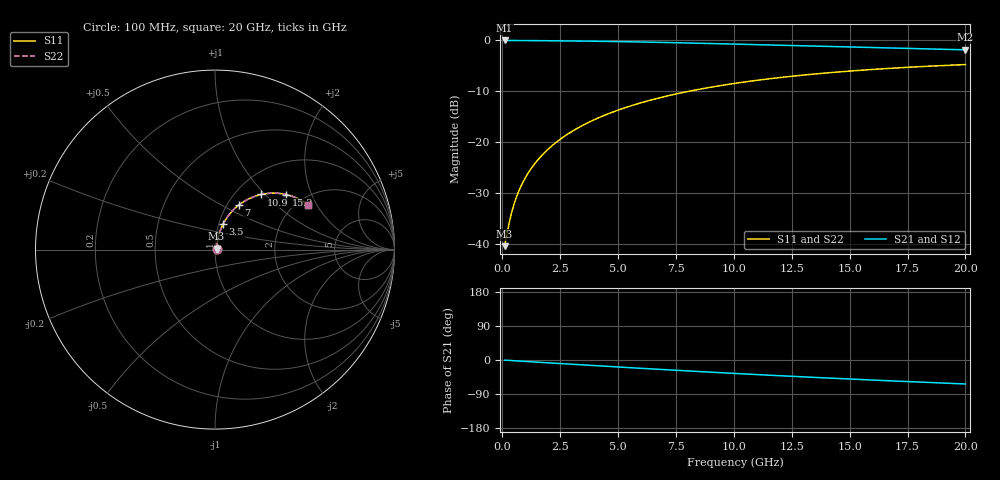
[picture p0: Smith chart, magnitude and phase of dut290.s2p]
! Touchstone file exported from HFSS 2026.1.0
!  File:  C:/ffzhzh/LocalFiles/Ansys_Project_Files/temp_train_TMRDL_290_1782985499_6248.aedt
!  Generated:  05:46:24 PM Jul  2, 2026
!  Design:  TMRDL
!  Project:  temp_train_TMRDL_290_1782985499_6248
! Variables:
!  h_bsmrdl = 2um
!  h_ox = 20um
!  h_rdl = 5um
!  h_sub = 80um
!  h_tmrdl = 2.01um
!  h_tsv = 80um
!  h_via = 3um
!  l_bsmrdl = 300um
!  l_sub = 1356.95um
!  l_tmrdl = 956.95um
!  m_sub = 200um
!  pitch = 54.25um
!  r_tsv = 6um
!  s_tmrdl = 10um
!  w_bsmrdl = 18um
!  w_sub = 500um
!  w_tmrdl = 20.31um
!  x_tsv_center1 = 967.105um
!  x_tsv_center2 = 1285.105um
!  x_tsv_center3 = 2262.365um
!  x_tsv_center4 = 2580.365um
!  x_tsv_center5 = 3557.625um
!  x_tsv_center6 = 3875.625um
# GHz S MA R 50.000000
! Terminal data exported
! Port[1] = TM_RDL1_1_T1
! Port[2] = TM_RDL1_1_T2
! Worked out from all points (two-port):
!   200 points, 100 MHz to 20 GHz, reference 50 ohm
!   highest |S21| = -0.07 dB at 100 MHz (marker M1); lowest = -1.9 dB at 20 GHz (marker M2)
!   |S21| within 3 dB of the highest: start of sweep to end of sweep
!   lowest |S11| = -40.3 dB at 100 MHz (marker M3), VSWR 1.02, Z = 50.9 + j0.467 ohm
!   |S11| at or under -10 dB: start of sweep to 8.081 GHz
!   |S22| runs from -40.3 to -4.8 dB; largest |S21 - S12| = 1.2e-14
!   S11 on the Smith chart (normalised r, x): 100 MHz: 1.02, +0.01; 3.5 GHz: 1.05, +0.30; 7 GHz: 1.13, +0.61; 10.9 GHz: 1.30, +0.95; 15.2 GHz: 1.63, +1.34; 20 GHz: 2.29, +1.70
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0.1  0.009616 28.5  0.9916 -0.4  0.9916 -0.4  0.009616 28.5
! Gamma 0 0 0 0
! Port Impedance 50 0 50 0
0.3  0.01634 56.4  0.9911 -1.2  0.9911 -1.2  0.01634 56.4
0.4  0.02036 62.2  0.9908 -1.6  0.9908 -1.6  0.02036 62.2
0.6  0.02862 68.3  0.9901 -2.3  0.9901 -2.3  0.02861 68.3
0.7  0.03275 70.0  0.9898 -2.7  0.9898 -2.7  0.03275 70.0
0.9  0.04102 72.3  0.9891 -3.5  0.9891 -3.5  0.04101 72.3
1.2  0.05338 74.1  0.9881 -4.6  0.9881 -4.6  0.05338 74.1
1.7  0.07399 75.1  0.9864 -6.4  0.9864 -6.4  0.07398 75.1
2.2  0.09457 75.0  0.9845 -8.3  0.9845 -8.3  0.09457 75.0
2.8  0.1191 74.1  0.9816 -10.5  0.9816 -10.5  0.1191 74.1
3.5  0.1474 72.5  0.9776 -13.0  0.9776 -13.0  0.1474 72.5
4.2  0.1753 70.6  0.9729 -15.6  0.9729 -15.6  0.1753 70.6
5  0.2063 68.3  0.9667 -18.5  0.9667 -18.5  0.2063 68.3
6.8  0.2726 62.7  0.95 -24.8  0.95 -24.8  0.2725 62.7
7  0.2796 62.0  0.9479 -25.5  0.9479 -25.5  0.2796 62.1
8.5  0.3299 57.3  0.9315 -30.5  0.9315 -30.5  0.3299 57.3
10.1  0.3787 52.4  0.9127 -35.7  0.9127 -35.7  0.3787 52.4
10.9  0.4012 50.0  0.903 -38.2  0.903 -38.2  0.4012 50.0
13.4  0.4636 42.7  0.8727 -45.7  0.8727 -45.7  0.4636 42.7
15.2  0.5012 37.7  0.8518 -50.8  0.8518 -50.8  0.5012 37.7
16.7  0.5283 33.7  0.8354 -54.8  0.8354 -54.8  0.5283 33.8
20  0.5757 25.5  0.8039 -63.2  0.8039 -63.2  0.5757 25.5
